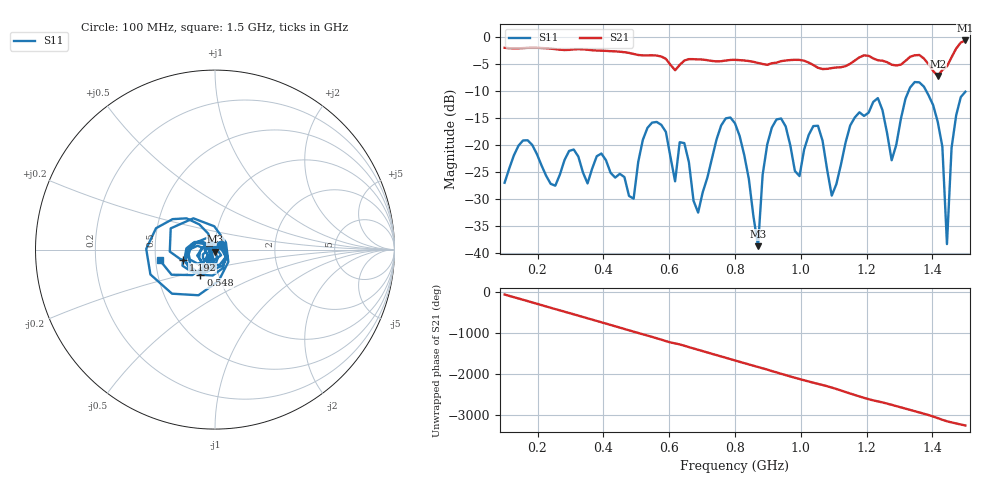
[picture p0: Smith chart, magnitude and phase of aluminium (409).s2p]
! NanoVNA-App
! Date: 2025-09-25 14:58:28
! Start: 100MHz Stop: 1,5GHz Points: 101
! S-Parameter data: F S11 S21 S12 S22
# Hz S RI R 50
!  Frequency  S11_Real  S11_Imag  S21_Real  S21_Imag  S12_Real  S12_Imag  S22_Real  S22_Imag
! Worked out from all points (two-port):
!   101 points, 100 MHz to 1.5 GHz, reference 50 ohm
!   highest |S21| = -0.56 dB at 1.5 GHz (marker M1); lowest = -7.1 dB at 1.416 GHz (marker M2)
!   |S21| within 3 dB of the highest: start of sweep to 576.6 MHz; 1.459 GHz to end of sweep (the widest 2 of 4)
!   lowest |S11| = -38.7 dB at 870 MHz (marker M3), VSWR 1.02, Z = 50.2 - j1.13 ohm
!   |S11| at or under -10 dB: start of sweep to 1.327 GHz; 1.382 GHz to end of sweep
!   S12 and S22 are empty: the file has one direction only
!   S11 on the Smith chart (normalised r, x): 100 MHz: 1.07, +0.06; 548 MHz: 0.82, -0.24; 1.192 GHz: 0.69, -0.08; 1.5 GHz: 0.53, -0.07
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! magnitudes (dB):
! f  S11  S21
! 100 MHz  -27.0  -1.9
! 156 MHz  -19.1  -2.0
! 338 MHz  -25.0  -2.2
! 492 MHz  -29.9  -3.1
! 548 MHz  -15.8  -3.3
! 576 MHz  -16.2  -3.5
! 646 MHz  -19.6  -4.3
! 688 MHz  -32.5  -4.1
! 800 MHz  -15.9  -4.2
! 870 MHz  -38.7  -4.7
! 912 MHz  -16.7  -4.8
! 996 MHz  -25.7  -4.2
! 1.038 GHz  -16.4  -5.1
! 1.094 GHz  -29.3  -5.7
! 1.192 GHz  -14.6  -3.3
! 1.234 GHz  -11.3  -4.2
! 1.276 GHz  -22.8  -5.1
! 1.346 GHz  -8.3  -3.3
! 1.416 GHz  -15.7  -7.1
! 1.444 GHz  -38.3  -5.4
! 1.458 GHz  -20.5  -3.7
! 1.5 GHz  -10.1  -0.6
